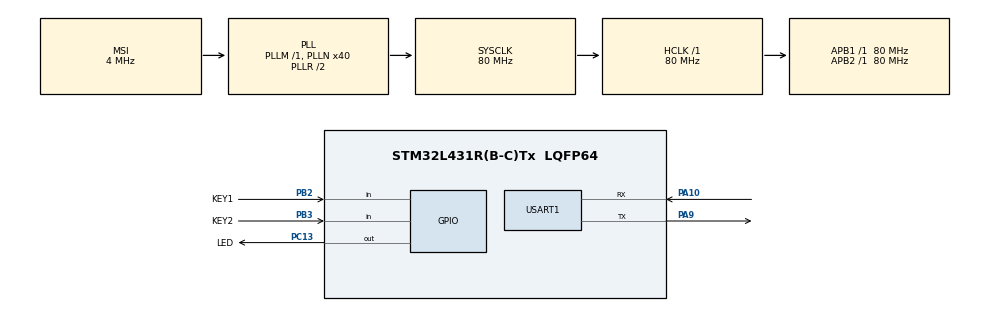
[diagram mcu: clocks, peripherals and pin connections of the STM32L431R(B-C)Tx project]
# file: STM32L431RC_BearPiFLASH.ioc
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Mcu.Family=STM32L4
Mcu.Name=STM32L431R(B-C)Tx
Mcu.Package=LQFP64
NVIC.PriorityGroup=NVIC_PRIORITYGROUP_4
PA10.Mode=Asynchronous
PA10.Signal=USART1_RX
PA9.Mode=Asynchronous
PA9.Signal=USART1_TX
PB2.GPIO_Label=KEY1
PB2.GPIO_PuPd=GPIO_PULLUP
PB2.Signal=GPIO_Input
PB3\ (JTDO-TRACESWO).GPIO_Label=KEY2
PB3\ (JTDO-TRACESWO).GPIO_PuPd=GPIO_PULLUP
PB3\ (JTDO-TRACESWO).Signal=GPIO_Input
PC13.GPIO_Label=LED
PC13.Signal=GPIO_Output
ProjectManager.HeapSize=0x200
ProjectManager.StackSize=0x400
ProjectManager.TargetToolchain=MDK-ARM V5
RCC.AHBFreq_Value=80000000
RCC.APB1Freq_Value=80000000
RCC.APB1TimFreq_Value=80000000
RCC.APB2Freq_Value=80000000
RCC.APB2TimFreq_Value=80000000
RCC.CortexFreq_Value=80000000
RCC.HCLKFreq_Value=80000000
RCC.HSE_VALUE=8000000
RCC.HSI48_VALUE=48000000
RCC.HSI_VALUE=16000000
RCC.LSE_VALUE=32768
RCC.MSI_VALUE=4000000
RCC.PLLN=40
RCC.SYSCLKFreq_VALUE=80000000
RCC.SYSCLKSource=RCC_SYSCLKSOURCE_PLLCLK
RCC.VCOOutputFreq_Value=160000000
USART1.VirtualMode-Asynchronous=VM_ASYNC
board=custom

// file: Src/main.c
/**
  ******************************************************************************
  * @file           : main.c
  * @brief          : Main program body
  ******************************************************************************
  ** This notice applies to any and all portions of this file
  * that are not between comment pairs USER CODE BEGIN and
  * USER CODE END. Other portions of this file, whether
  * inserted by the user or by software development tools
  * are owned by their respective copyright owners.
  *
  * COPYRIGHT(c) 2019 STMicroelectronics
  *
  * Redistribution and use in source and binary forms, with or without modification,
  * are permitted provided that the following conditions are met:
  *   1. Redistributions of source code must retain the above copyright notice,
  *      this list of conditions and the following disclaimer.
  *   2. Redistributions in binary form must reproduce the above copyright notice,
  *      this list of conditions and the following disclaimer in the documentation
  *      and/or other materials provided with the distribution.
  *   3. Neither the name of STMicroelectronics nor the names of its contributors
  *      may be used to endorse or promote products derived from this software
  *      without specific prior written permission.
  *
  * THIS SOFTWARE IS PROVIDED BY THE COPYRIGHT HOLDERS AND CONTRIBUTORS "AS IS"
  * AND ANY EXPRESS OR IMPLIED WARRANTIES, INCLUDING, BUT NOT LIMITED TO, THE
  * IMPLIED WARRANTIES OF MERCHANTABILITY AND FITNESS FOR A PARTICULAR PURPOSE ARE
  * DISCLAIMED. IN NO EVENT SHALL THE COPYRIGHT HOLDER OR CONTRIBUTORS BE LIABLE
  * FOR ANY DIRECT, INDIRECT, INCIDENTAL, SPECIAL, EXEMPLARY, OR CONSEQUENTIAL
  * DAMAGES (INCLUDING, BUT NOT LIMITED TO, PROCUREMENT OF SUBSTITUTE GOODS OR
  * SERVICES; LOSS OF USE, DATA, OR PROFITS; OR BUSINESS INTERRUPTION) HOWEVER
  * CAUSED AND ON ANY THEORY OF LIABILITY, WHETHER IN CONTRACT, STRICT LIABILITY,
  * OR TORT (INCLUDING NEGLIGENCE OR OTHERWISE) ARISING IN ANY WAY OUT OF THE USE
  * OF THIS SOFTWARE, EVEN IF ADVISED OF THE POSSIBILITY OF SUCH DAMAGE.
  *
  ******************************************************************************
  */
#include "main.h"
#include "stm32l4xx_hal.h"
#include "usart.h"
#include "gpio.h"

/* USER CODE BEGIN Includes */
#include "stdio.h"
#include "flash.h"
/* USER CODE END Includes */

/* USER CODE BEGIN PV */
/* Private variables ---------------------------------------------------------*/
#define strLen sizeof(W_Flash1)/sizeof(uint8_t) //写入数据的长度
#define ADDR 0x0803f800	//写地址
/* USER CODE END PV */

void SystemClock_Config(void);

/* USER CODE BEGIN PFP */
/* Private function prototypes -----------------------------------------------*/

/* USER CODE END PFP */

/* USER CODE BEGIN 0 */
void writeflash(int addr, uint32_t* writeFlashData)
{
	uint32_t PageError = 0;
	int i=0;
	HAL_FLASH_Unlock();
  FLASH_EraseInitTypeDef f;
	f.Banks=1;
	f.NbPages=1;
	f.Page=255;
	f.TypeErase=0;
	HAL_FLASHEx_Erase(&f,&PageError);
	HAL_FLASH_Program(FLASH_TYPEPROGRAM_DOUBLEWORD, addr, writeFlashData[i]);
	HAL_FLASH_Lock();
}
void ReadFlashData(int addr,uint32_t strSize,uint8_t* ReadData)
{
uint8_t OneWord;
for(int i=0;i<strSize;i++)
{
OneWord=*(__IO uint32_t*)addr;
 ReadData[i]=OneWord;
addr++;
}
printf("Read the flash data:>>%s<<,address:%x\r\n",ReadData,addr-strSize);//显示该地址的数据
}

/* USER CODE END 0 */

int main(void)
{
  /* USER CODE BEGIN 1 */
uint8_t writeFlashData[] ="中国";
uint8_t R_OldFlash[]={0};
const uint8_t W_Flash1[]  ="Welcome to flash";//写入Flash数据
uint8_t R_Flash[strLen+1] = {0};	//从Flash读出数据的缓存区
uint8_t R_Flash2[strLen+1]= {0};	//从Flash读出数据的缓存区

  /* USER CODE END 1 */

  /* MCU Configuration----------------------------------------------------------*/

  /* Reset of all peripherals, Initializes the Flash interface and the Systick. */
  HAL_Init();

  /* Configure the system clock */
  SystemClock_Config();

  /* Initialize all configured peripherals */
  MX_GPIO_Init();
  MX_USART1_UART_Init();
  /* USER CODE BEGIN 2 */
  ReadFlashData(ADDR,strLen, R_OldFlash);
  /* USER CODE END 2 */

  /* Infinite loop */
  while (1)
  {

  /* USER CODE BEGIN 3 */
		if(HAL_GPIO_ReadPin(KEY1_GPIO_Port,KEY1_Pin)==GPIO_PIN_RESET)
		{
			HAL_Delay(100);
			if(HAL_GPIO_ReadPin(KEY1_GPIO_Port,KEY1_Pin)==GPIO_PIN_RESET)
			{
			 printf("KEY1 Press\r\n");
       Flash_WriteReadTest(ADDR, (uint8_t*)W_Flash1, sizeof(W_Flash1), R_Flash);//写入数据并读出数据
			 //writeflash(ADDR,(uint32_t*)&writeFlashData);//擦除并写入数据
			 HAL_GPIO_TogglePin(LED_GPIO_Port,LED_Pin);//LED电平翻转
			 }
		 }
		if(HAL_GPIO_ReadPin(KEY2_GPIO_Port,KEY2_Pin)==GPIO_PIN_RESET)
		{
		 HAL_Delay(100);
		 if(HAL_GPIO_ReadPin(KEY2_GPIO_Port,KEY2_Pin)==GPIO_PIN_RESET)
		 {
			printf("KEY2 Press\r\n");
			ReadFlashData(ADDR,sizeof(writeFlashData),R_Flash2);//读取写入的数据
			HAL_GPIO_TogglePin(LED_GPIO_Port,LED_Pin);	//LED电平翻转
		 }
		}

  }
  /* USER CODE END 3 */

}

void SystemClock_Config(void)
{

  RCC_OscInitTypeDef RCC_OscInitStruct;
  RCC_ClkInitTypeDef RCC_ClkInitStruct;
  RCC_PeriphCLKInitTypeDef PeriphClkInit;

    /**Initializes the CPU, AHB and APB busses clocks
    */
  RCC_OscInitStruct.OscillatorType = RCC_OSCILLATORTYPE_MSI;
  RCC_OscInitStruct.MSIState = RCC_MSI_ON;
  RCC_OscInitStruct.MSICalibrationValue = 0;
  RCC_OscInitStruct.MSIClockRange = RCC_MSIRANGE_6;
  RCC_OscInitStruct.PLL.PLLState = RCC_PLL_ON;
  RCC_OscInitStruct.PLL.PLLSource = RCC_PLLSOURCE_MSI;
  RCC_OscInitStruct.PLL.PLLM = 1;
  RCC_OscInitStruct.PLL.PLLN = 40;
  RCC_OscInitStruct.PLL.PLLP = RCC_PLLP_DIV7;
  RCC_OscInitStruct.PLL.PLLQ = RCC_PLLQ_DIV2;
  RCC_OscInitStruct.PLL.PLLR = RCC_PLLR_DIV2;
  if (HAL_RCC_OscConfig(&RCC_OscInitStruct) != HAL_OK)
  {
    _Error_Handler(__FILE__, __LINE__);
  }

    /**Initializes the CPU, AHB and APB busses clocks
    */
  RCC_ClkInitStruct.ClockType = RCC_CLOCKTYPE_HCLK|RCC_CLOCKTYPE_SYSCLK
                              |RCC_CLOCKTYPE_PCLK1|RCC_CLOCKTYPE_PCLK2;
  RCC_ClkInitStruct.SYSCLKSource = RCC_SYSCLKSOURCE_PLLCLK;
  RCC_ClkInitStruct.AHBCLKDivider = RCC_SYSCLK_DIV1;
  RCC_ClkInitStruct.APB1CLKDivider = RCC_HCLK_DIV1;
  RCC_ClkInitStruct.APB2CLKDivider = RCC_HCLK_DIV1;

  if (HAL_RCC_ClockConfig(&RCC_ClkInitStruct, FLASH_LATENCY_4) != HAL_OK)
  {
    _Error_Handler(__FILE__, __LINE__);
  }

  PeriphClkInit.PeriphClockSelection = RCC_PERIPHCLK_USART1;
  PeriphClkInit.Usart1ClockSelection = RCC_USART1CLKSOURCE_PCLK2;
  if (HAL_RCCEx_PeriphCLKConfig(&PeriphClkInit) != HAL_OK)
  {
    _Error_Handler(__FILE__, __LINE__);
  }

    /**Configure the main internal regulator output voltage
    */
  if (HAL_PWREx_ControlVoltageScaling(PWR_REGULATOR_VOLTAGE_SCALE1) != HAL_OK)
  {
    _Error_Handler(__FILE__, __LINE__);
  }

    /**Configure the Systick interrupt time
    */
  HAL_SYSTICK_Config(HAL_RCC_GetHCLKFreq()/1000);

    /**Configure the Systick
    */
  HAL_SYSTICK_CLKSourceConfig(SYSTICK_CLKSOURCE_HCLK);

  /* SysTick_IRQn interrupt configuration */
  HAL_NVIC_SetPriority(SysTick_IRQn, 0, 0);
}

void _Error_Handler(char *file, int line)
{
  while(1)
  {
  }
}

/************************ (C) COPYRIGHT STMicroelectronics *****END OF FILE****/
